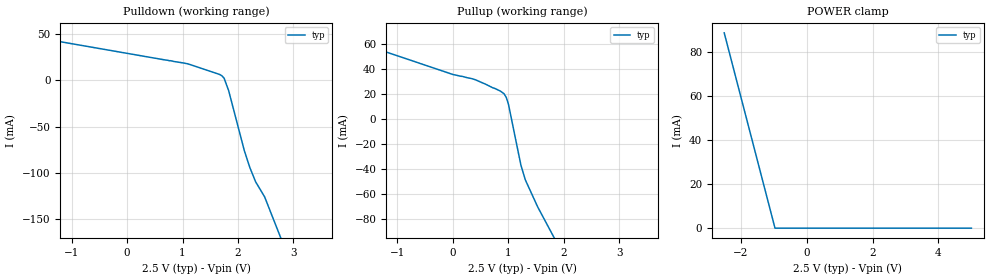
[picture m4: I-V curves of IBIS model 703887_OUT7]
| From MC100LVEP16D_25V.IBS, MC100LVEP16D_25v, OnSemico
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| (C) COPYRIGHT 1993-2001
| MENTOR GRAPHICS CORPORATION
| ICX STANDARD LIBRARY, ICX PROJECT MODELING,
| ICX CUSTOM MODELING, ICX VENDOR MODEL
| ALL RIGHTS RESERVED.
| THE FOLLOWING ARE TRADEMARKS OR SERVICE MARKS OF
| MENTOR GRAPHICS CORPORATION:ICX (R), ICX STANDARD
| LIBRARY(R), ICX PROJECT MODELING(R), ICX CUSTOM
| MODELING(R), qualityIBIS(TM), MODELVIEWER(TM),
| AND MODELEDITOR(TM)
| ALL COPIES OF SOFTWARE, INCLUDING BUT NOT LIMITED TO
| ANY MODIFICATIONS, ENHANCEMENTS OR DERIVATIVE WORKS,
| MUST CONTAIN ALL MENTOR GRAPHICS CORPORATION'S
| NOTICES AND LEGENDS, INCLUDING THOSE EMBEDDED IN
| SOFTWARE AND THOSE AFFIXED TO SOFTWARE MEDIUM
| AND CONTAINER, AS RECEIVED FROM MENTOR GRAPHICS
| CORPORATION.
| Model Application Version 1.89 2/18/99.
[Model] 703887_OUT7
Model_type Output_ECL
Vref=500.0mV
Rref=50.00ohms
Cref=0.000F
Vmeas=1.080V
C_comp 6.000pF NA NA
| variable typ   min   max
[Voltage Range] 2.500V NA NA
[POWER Clamp Reference] 2.500V NA NA
[Pullup Reference] 2.500V NA NA
[Pulldown Reference] 2.500V NA NA
[GND Clamp Reference] 0.000V NA NA
[GND Clamp]
-2.5V     0A         NA         NA
5V        0A         NA         NA
[Pulldown]
-2.5V     55.36mA    NA         NA
1.081V    18.1mA     NA         NA
1.669V    6.4mA      NA         NA
1.75V     2.3mA      NA         NA
1.831V    -11mA      NA         NA
2.115V    -76.2mA    NA         NA
2.216V    -94.7mA    NA         NA
2.318V    -109.7mA   NA         NA
2.48V     -126mA     NA         NA
5V        -510.3mA   NA         NA
[Pullup]
-2.5V     73.48mA    NA         NA
12mV      35.8mA     NA         NA
397mV     31.9mA     NA         NA
762mV     24.7mA     NA         NA
924mV     20.5mA     NA         NA
965mV     17.5mA     NA         NA
1.005V    11.9mA     NA         NA
1.228V    -36.7mA    NA         NA
1.309V    -48.7mA    NA         NA
1.532V    -70.4mA    NA         NA
5V        -359.2mA   NA         NA
[POWER Clamp]
-2.5V     88.84mA    NA         NA
-959.3mV  0A         NA         NA
5V        0A         NA         NA
[Ramp]
| variable typ min max
dV/dt_r 337.8m/92.52p NA NA
dV/dt_f 337.8m/92.19p NA NA
R_load = 50.00Ohms
